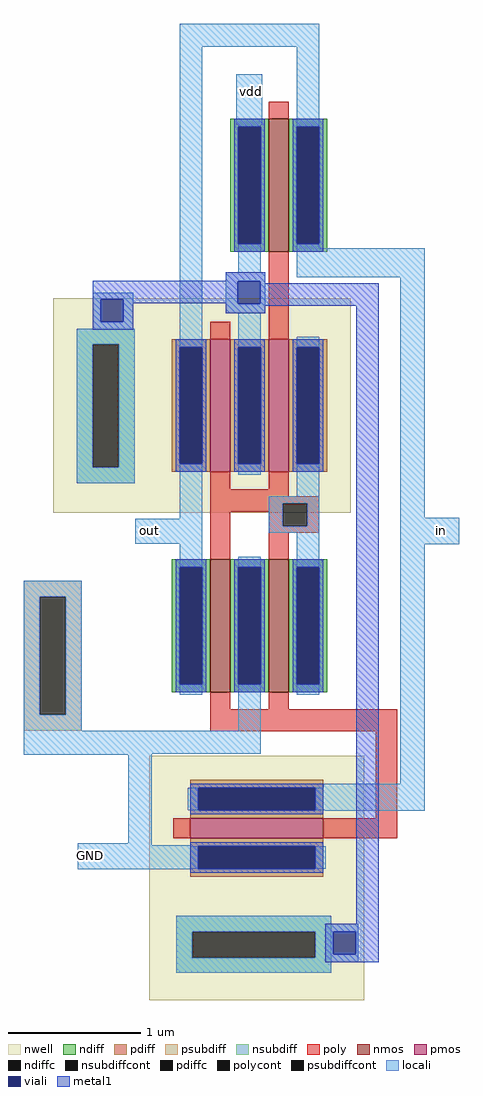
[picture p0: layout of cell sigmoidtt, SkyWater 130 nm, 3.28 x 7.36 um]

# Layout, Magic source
magic
tech sky130A
magscale 1 2
<< nwell >>
rect -388 268 -244 591
rect -388 267 -245 268
rect 19 -147 25 -141
rect -219 -270 -181 -250
rect -211 -317 48 -303
rect -243 -467 81 -317
<< psubdiff >>
rect -432 141 -345 165
rect -432 -37 -408 141
rect -369 -37 -345 141
rect -432 -61 -345 -37
<< nsubdiff >>
rect -352 521 -265 545
rect -352 336 -328 521
rect -289 336 -265 521
rect -352 312 -265 336
rect -202 -364 31 -340
rect -202 -403 -178 -364
rect 7 -403 31 -364
rect -202 -426 31 -403
<< psubdiffcont >>
rect -408 -37 -369 141
<< nsubdiffcont >>
rect -328 336 -289 521
rect -178 -403 7 -364
<< poly >>
rect -63 555 -33 635
rect -63 303 -33 304
rect -151 292 -33 303
rect -151 282 13 292
rect -151 269 -42 282
rect -151 222 -121 269
rect -63 247 -42 269
rect -5 247 13 282
rect -63 237 13 247
rect -63 223 -33 237
rect -151 -62 131 -29
rect 98 -193 131 -62
rect 45 -223 131 -193
<< polycont >>
rect -42 247 -5 282
<< locali >>
rect -197 970 13 1004
rect -328 589 -267 599
rect -328 555 -316 589
rect -282 555 -267 589
rect -328 545 -267 555
rect -352 521 -265 545
rect -197 533 -163 970
rect -112 852 -73 928
rect -21 865 13 970
rect -109 630 -75 657
rect -128 616 -68 630
rect -21 622 172 666
rect -128 582 -110 616
rect -76 582 -68 616
rect -128 568 -68 582
rect -109 533 -75 568
rect -352 336 -328 521
rect -289 336 -265 521
rect -352 312 -265 336
rect -197 258 -163 325
rect -21 292 13 325
rect -264 221 -163 258
rect -63 282 13 292
rect -63 247 -42 282
rect -5 247 13 282
rect -63 237 13 247
rect -197 201 -163 221
rect -21 201 13 237
rect 135 260 172 622
rect 135 220 224 260
rect -432 141 -345 165
rect -432 -37 -408 141
rect -369 -37 -345 141
rect -432 -61 -345 -37
rect -109 -61 -75 -3
rect -432 -96 -75 -61
rect -432 -97 -239 -96
rect -275 -231 -239 -97
rect 135 -141 172 220
rect 19 -147 172 -141
rect 22 -182 172 -147
rect -351 -234 -239 -231
rect -351 -270 -181 -234
rect -202 -352 31 -340
rect -202 -364 72 -352
rect -202 -403 -178 -364
rect 7 -398 34 -364
rect 68 -398 72 -364
rect 7 -403 72 -398
rect -202 -410 72 -403
rect -202 -426 31 -410
<< viali >>
rect -316 555 -282 589
rect -110 582 -76 616
rect 34 -398 68 -364
<< metal1 >>
rect -128 617 -68 630
rect -328 616 -68 617
rect -328 589 -110 616
rect -328 555 -316 589
rect -282 583 -110 589
rect -282 555 -267 583
rect -128 582 -110 583
rect -76 613 -68 616
rect -76 582 103 613
rect -128 579 103 582
rect -128 568 -68 579
rect -328 543 -267 555
rect 69 -352 103 579
rect 22 -364 103 -352
rect 22 -398 34 -364
rect 68 -398 103 -364
rect 22 -410 103 -398
use sky130_fd_pr__nfet_01v8_J2TWZ5  XM1
transform 1 0 -48 0 1 97
box -73 -126 73 126
use sky130_fd_pr__pfet_01v8_5U3NDE  XM2
transform 1 0 -48 0 1 429
box -109 -162 109 162
use sky130_fd_pr__pfet_01v8_5U3NDE  XM3
transform -1 0 -136 0 1 429
box -109 -162 109 162
use sky130_fd_pr__nfet_01v8_J2TWZ5  XM6
transform -1 0 -136 0 1 97
box -73 -126 73 126
use sky130_fd_pr__nfet_01v8_J2TWZ5  sky130_fd_pr__nfet_01v8_J2TWZ5_0
transform -1 0 -48 0 1 761
box -73 -126 73 126
use sky130_fd_pr__pfet_01v8_5U3NDE  sky130_fd_pr__pfet_01v8_5U3NDE_0
transform 0 1 -81 -1 0 -208
box -109 -162 109 162
<< labels >>
rlabel locali -101 881 -76 923 1 vdd
rlabel locali -346 -264 -316 -235 1 GND
rlabel locali 181 226 214 255 1 in
rlabel locali -257 226 -229 254 1 out
<< end >>

# cell sky130_fd_pr__nfet_01v8_J2TWZ5: kit device sky130_fd_pr__nfet_01v8, w 1.0 l 0.15 m 1 nf 1 diffcov 100 polycov 100 guard 0 glc 0 grc 0 gtc 0 gbc 0 tbcov 100 rlcov 100 topc 0 botc 0 poverlap 0 doverlap 1 lmin 0.15 wmin 0.42 compatible {sky130_fd_pr__nfet_01v8 sky130_fd_pr__nfet_01v8_lvt sky130_fd_bs_flash__special_sonosfet_star sky130_fd_pr__nfet_g5v0d10v5 sky130_fd_pr__nfet_05v0_nvt sky130_fd_pr__nfet_03v3_nvt} full_metal 0 viasrc 100 viadrn 100 viagate 100 viagb 0 viagr 0 viagl 0 viagt 0

# cell sky130_fd_pr__pfet_01v8_5U3NDE: kit device sky130_fd_pr__pfet_01v8, w 1.0 l 0.15 m 1 nf 1 diffcov 100 polycov 100 guard 0 glc 0 grc 0 gtc 0 gbc 0 tbcov 100 rlcov 100 topc 0 botc 0 poverlap 0 doverlap 1 lmin 0.15 wmin 0.42 compatible {sky130_fd_pr__pfet_01v8 sky130_fd_pr__pfet_01v8_lvt sky130_fd_pr__pfet_01v8_hvt sky130_fd_pr__pfet_g5v0d10v5} full_metal 0 viasrc 100 viadrn 100 viagate 100 viagb 0 viagr 0 viagl 0 viagt 0
